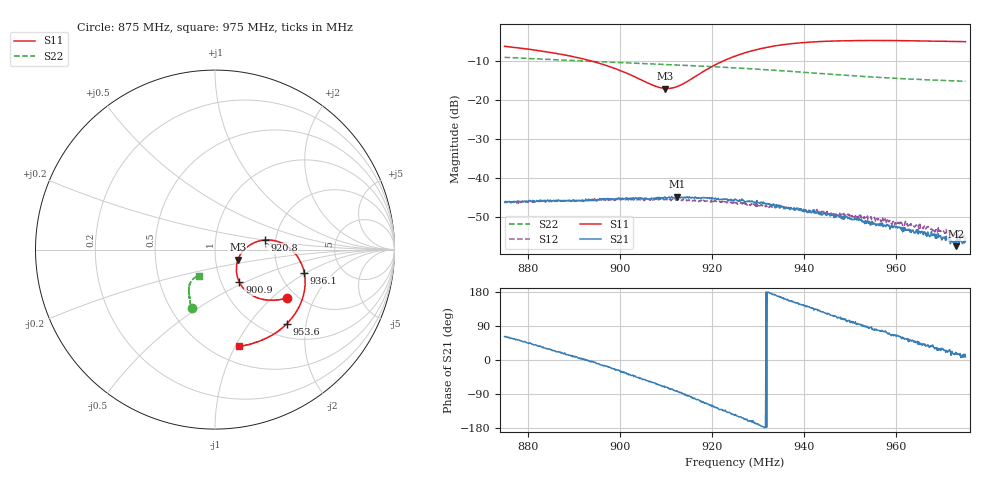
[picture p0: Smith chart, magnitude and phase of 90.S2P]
! C:\Users\rflab\Downloads\Lab5_KD_ZW\Q3\90.S2P
! Touchstone 1.1 file saved by VNA.EXE V1.65 (www.ke5fx.com/gpib/readme.htm)
! 11/18/2024 10:25:32 PM
!  Source: HEWLETT PACKARD,8753D,0,6.14
!  Min freq: 8.750000E+008 Hz
!  Max freq: 9.750200E+008 Hz
!  Points: 801
!  Params: S11 S21 S12 S22
# GHZ S MA R 50
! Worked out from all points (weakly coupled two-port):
!   801 points, 875 MHz to 975 MHz, reference 50 ohm
!   highest |S21| = -44.85 dB at 912.5 MHz (marker M1); lowest = -57.6 dB at 973 MHz (marker M2)
!   lowest |S11| = -17.1 dB at 909.9 MHz (marker M3), VSWR 1.32, Z = 64.1 - j7.34 ohm
!   |S11| at or under -10 dB: 893.6 MHz to 922.6 MHz (28.97 MHz wide, 3.19 % of centre)
!   |S22| runs from -15.3 to -9.1 dB; largest |S21 - S12| = 0.0012
!   S11 on the Smith chart (normalised r, x): 875 MHz: 1.79, -1.25; 900.9 MHz: 1.22, -0.47; 920.8 MHz: 1.75, +0.20; 936.1 MHz: 2.73, -0.97; 953.6 MHz: 1.26, -1.56; 975 MHz: 0.66, -1.04
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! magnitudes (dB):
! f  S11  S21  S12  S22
! 875 MHz  -6.3  -46.3  -46.4  -9.1
! 891.8 MHz  -9.4  -45.8  -45.9  -10.1
! 900.9 MHz  -12.9  -45.4  -45.7  -10.5
! 908.4 MHz  -16.8  -45.2  -45.7  -10.9
! 909.9 MHz  -17.1  -45.1  -45.6  -11.0
! 912.5 MHz  -16.6  -44.8  -45.5  -11.1
! 920.8 MHz  -11.0  -45.2  -46.1  -11.6
! 925 MHz  -8.8  -45.5  -46.4  -11.8
! 930.9 MHz  -6.8  -46.3  -47.2  -12.2
! 936.1 MHz  -5.8  -47.5  -47.8  -12.6
! 941.8 MHz  -5.2  -48.8  -48.4  -13.1
! 950.4 MHz  -4.8  -50.8  -49.7  -13.8
! 951.5 MHz  -4.8  -50.6  -49.6  -13.9
! 953.6 MHz  -4.8  -51.6  -50.4  -14.1
! 958.4 MHz  -4.8  -52.2  -51.3  -14.4
! 964.6 MHz  -4.9  -53.4  -52.0  -14.8
! 965.4 MHz  -4.9  -53.8  -52.9  -14.8
! 966.5 MHz  -4.9  -54.4  -52.9  -14.9
! 968.4 MHz  -5.0  -54.9  -53.9  -15.0
! 971.1 MHz  -5.0  -55.4  -54.0  -15.1
! 973 MHz  -5.1  -57.6  -55.1  -15.2
! 975 MHz  -5.1  -56.4  -55.4  -15.3
